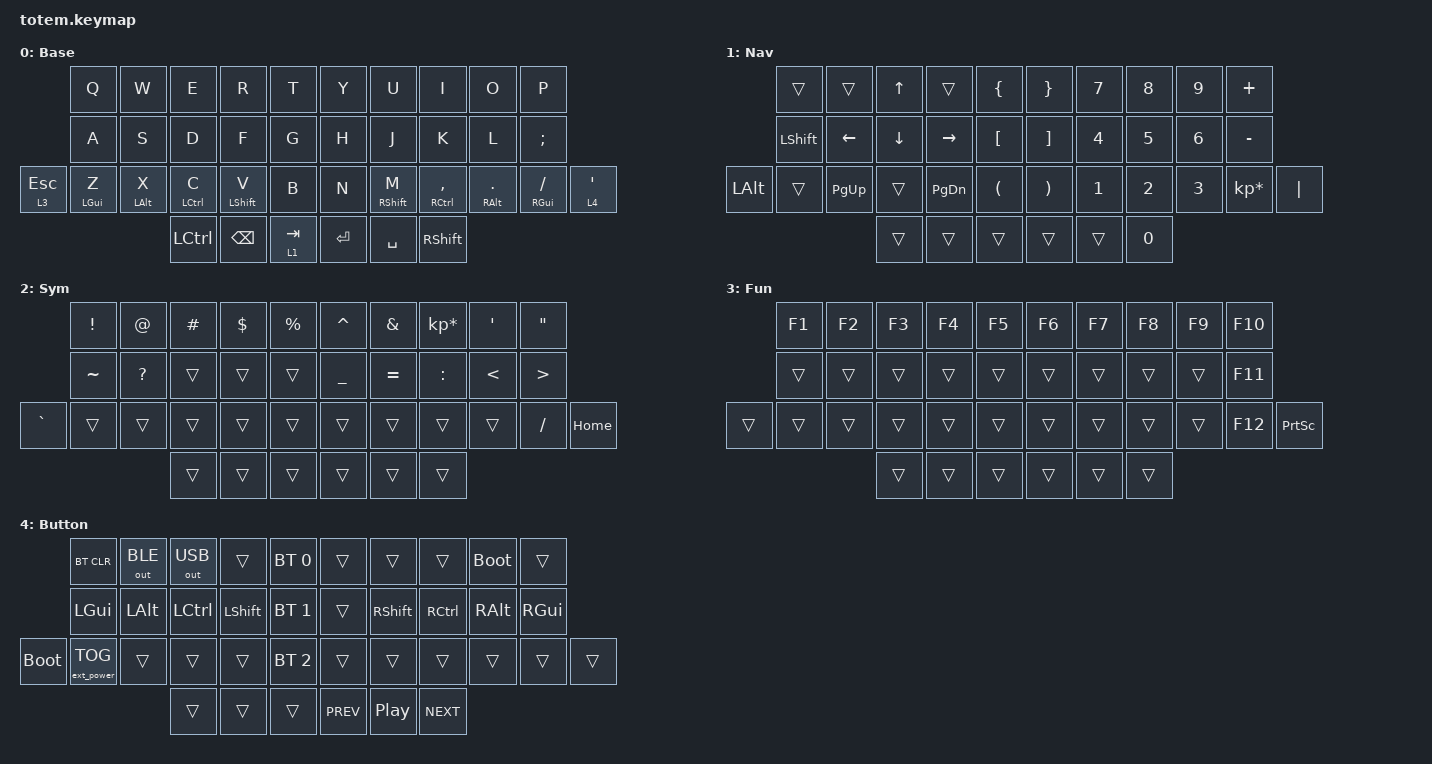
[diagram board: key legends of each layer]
//
//                                                        ▀▀▀▀▀     ▀▀▀▀▀          ▀▀█▀▀
//                                                        ▄▀▀▀▄  ▄  ▄▀▀▀▄  ▄  ▄▀▀▀▄  █  ▄▀▀▀▄
//                                                        █   █  █  █   █  █  █   █  █  █   █
//                                                         ▀▀▀   █   ▀▀▀   █   ▀▀▀   ▀   ▀▀▀
//                                                               █      ▄▄▄█▄▄▄    █   █  
//                                                               ▀      █  █  █     █▄█
//                                                             ▀▀▀▀▀    █  █  █      ▀
//                                                                      ▀  ▀  ▀
//
// ▄▄▄▄▄▄▄▄▄▄▄▄▄▄▄▄▄▄▄▄▄▄▄▄▄▄▄▄▄▄▄▄▄▄▄▄▄▄▄▄▄▄▄▄▄▄▄▄▄▄▄▄▄▄▄▄▄▄▄▄▄▄▄▄▄▄▄▄▄▄▄▄▄▄▄▄▄▄▄▄▄▄▄▄▄▄▄▄▄▄▄▄▄▄▄▄▄▄▄▄▄▄▄▄▄▄▄▄▄▄▄▄▄▄▄▄▄▄▄▄▄▄▄▄▄▄▄▄▄▄▄▄▄▄▄▄▄▄▄▄▄▄▄▄▄▄▄▄▄

#include <behaviors.dtsi>
#include <dt-bindings/zmk/bt.h>
#include <dt-bindings/zmk/ext_power.h>
#include <dt-bindings/zmk/keys.h>
#include <dt-bindings/zmk/outputs.h>

#define Base        0
#define Nav         1
#define Sym         2
#define Fun         3
#define Game        4
#define Gameplus    5

&mt {
    quick-tap-ms = <100>;
    global-quick-tap;
    flavor = "tap-preferred";
    tapping-term-ms = <170>;
};

&lt {
    tapping-term-ms = <240>;
    flavor = "balanced";
    quick-tap-ms = <150>;
};

/ {
    behaviors {
        hm: homerow_mods {
            compatible = "zmk,behavior-hold-tap";
            label = "HOMEROW_MODS";
            #binding-cells = <2>;
            flavor = "tap-preferred";
            tapping-term-ms = <200>;
            quick-tap-ms = <125>;
            global-quick-tap;
            bindings = <&kp>, <&kp>;
        };

        lpar_lt: lpar_lt {
            compatible = "zmk,behavior-mod-morph";
            label = "LPAR_LT";
            bindings = <&kp LEFT_PARENTHESIS>, <&kp LESS_THAN>;

            #binding-cells = <0>;
            mods = <(MOD_LSFT)>;
        };

        rpar_gt: rpar_gt {
            compatible = "zmk,behavior-mod-morph";
            label = "RPAR_GT";
            bindings = <&kp RPAR>, <&kp GT>;

            #binding-cells = <0>;
            mods = <(MOD_LSFT)>;
        };

        lb_lb: lb_lb {
            compatible = "zmk,behavior-mod-morph";
            label = "LB_LB";
            bindings = <&kp LEFT_BRACKET>, <&kp LEFT_BRACE>;

            #binding-cells = <0>;
            mods = <(MOD_LSFT)>;
        };

        rb_rb: rb_rb {
            compatible = "zmk,behavior-mod-morph";
            label = "RB_RB";
            bindings = <&kp RIGHT_BRACKET>, <&kp RIGHT_BRACE>;

            #binding-cells = <0>;
            mods = <(MOD_LSFT)>;
        };
    };

    combos {
        compatible = "zmk,combos";

        enter {
            bindings = <&kp ENTER>;
            key-positions = <2 3>;
        };

        esc {
            bindings = <&kp ESCAPE>;
            key-positions = <2 1>;
        };

        at {
            bindings = <&kp AT_SIGN>;
            key-positions = <1 11>;
        };

        grave {
            bindings = <&kp GRAVE>;
            key-positions = <11 22>;
        };

        copy {
            bindings = <&kp LC(C)>;
            key-positions = <22 23>;
        };

        paste {
            bindings = <&kp LC(V)>;
            key-positions = <23 24>;
        };

        tab {
            bindings = <&kp TAB>;
            key-positions = <11 12>;
        };

        hash {
            bindings = <&kp HASH>;
            key-positions = <2 12>;
        };

        backslash {
            bindings = <&kp BACKSLASH>;
            key-positions = <23 12>;
        };

        dollar {
            bindings = <&kp DOLLAR>;
            key-positions = <3 13>;
        };

        equal {
            bindings = <&kp EQUAL>;
            key-positions = <13 24>;
        };

        percent {
            bindings = <&kp PERCENT>;
            key-positions = <4 14>;
        };

        tilde {
            bindings = <&kp TILDE>;
            key-positions = <25 14>;
        };

        excl {
            bindings = <&kp EXCLAMATION>;
            key-positions = <0 10>;
        };

        caret {
            bindings = <&kp CARET>;
            key-positions = <5 15>;
        };

        and {
            bindings = <&kp AMPERSAND>;
            key-positions = <6 16>;
        };

        star {
            bindings = <&kp ASTERISK>;
            key-positions = <7 17>;
        };

        plus {
            bindings = <&kp PLUS>;
            key-positions = <8 18>;
        };

        dq {
            bindings = <&kp DOUBLE_QUOTES>;
            key-positions = <9 19>;
        };

        pipe {
            bindings = <&kp PIPE>;
            key-positions = <15 26>;
        };

        minus {
            bindings = <&kp MINUS>;
            key-positions = <27 16>;
        };

        a {
            bindings = <&lpar_lt>;
            key-positions = <16 17>;
        };

        b {
            bindings = <&rpar_gt>;
            key-positions = <17 18>;
        };

        c {
            bindings = <&lb_lb>;
            key-positions = <27 28>;
        };

        d {
            bindings = <&rb_rb>;
            key-positions = <28 29>;
        };

        under {
            bindings = <&kp UNDER>;
            key-positions = <17 28>;
        };

        quote {
            bindings = <&kp SQT>;
            key-positions = <18 29>;
        };

        cut {
            bindings = <&kp LC(X)>;
            key-positions = <22 21>;
        };
    };

    keymap {
        compatible = "zmk,keymap";

        Base {
            label = "Base";
            bindings = <
              &kp Q           &kp W       &kp E               &kp R             &kp T        &kp Y      &kp U              &kp I                    &kp O              &kp P
              &kp A           &kp S       &kp D               &kp F             &kp G        &kp H      &kp J              &kp K                    &kp L              &kp SEMICOLON
&lt 3 ESCAPE  &hm LEFT_GUI Z  &hm LALT X  &hm LEFT_CONTROL C  &hm LEFT_SHIFT V  &kp B        &kp N      &hm RIGHT_SHIFT M  &hm RIGHT_CONTROL COMMA  &hm RIGHT_ALT DOT  &hm RGUI SLASH  &lt 4 APOSTROPHE
                                          &kp LCTRL           &kp BACKSPACE     &lt 1 TAB    &kp ENTER  &kp SPACE          &kp RIGHT_SHIFT
            >;
        };

        Nav {
            label = "Nav";
            bindings = <
              &trans          &trans       &kp UP_ARROW  &trans     &kp LBRC    &kp RBRC  &kp NUMBER_7  &kp NUMBER_8  &kp NUMBER_9  &kp PLUS
              &kp LEFT_SHIFT  &kp LEFT     &kp DOWN      &kp RIGHT  &kp LBKT    &kp RBKT  &kp NUMBER_4  &kp NUMBER_5  &kp NUMBER_6  &kp MINUS
&kp LEFT_ALT  &trans          &kp PAGE_UP  &trans        &kp PG_DN  &kp LPAR    &kp RPAR  &kp NUMBER_1  &kp NUMBER_2  &kp NUMBER_3  &kp KP_MULTIPLY  &kp PIPE
                                           &trans        &trans     &trans      &trans    &trans        &kp NUMBER_0
            >;
        };

        Sym {
            label = "Sym";
            bindings = <
           &kp EXCL   &kp AT        &kp HASH  &kp DOLLAR  &kp PERCENT    &kp CARET  &kp AMPERSAND  &kp KP_ASTERISK  &kp SQT        &kp DQT
           &kp TILDE  &kp QUESTION  &trans    &trans      &trans         &kp UNDER  &kp EQUAL      &kp COLON        &kp LESS_THAN  &kp GREATER_THAN
&kp GRAVE  &trans     &trans        &trans    &trans      &trans         &trans     &trans         &trans           &trans         &kp SLASH         &kp HOME
                                    &trans    &trans      &trans         &trans     &trans         &trans
            >;
        };

        Fun {
            label = "Fun";
            bindings = <
        &kp F1  &kp F2  &kp F3  &kp F4  &kp F5    &kp F6  &kp F7  &kp F8  &kp F9  &kp F10
        &trans  &trans  &trans  &trans  &trans    &trans  &trans  &trans  &trans  &kp F11
&trans  &trans  &trans  &trans  &trans  &trans    &trans  &trans  &trans  &trans  &kp F12  &kp PRINTSCREEN
                        &trans  &trans  &trans    &trans  &trans  &trans
            >;
        };

        Button {
            label = "Button";
            bindings = <
             &bt BT_CLR         &out OUT_BLE  &out OUT_USB  &trans      &bt BT_SEL 0    &trans      &trans            &trans      &bootloader  &trans
             &kp LGUI           &kp LALT      &kp LCTRL     &kp LSHIFT  &bt BT_SEL 1    &trans      &kp RSHIFT        &kp RCTRL   &kp RALT     &kp RGUI
&bootloader  &ext_power EP_TOG  &trans        &trans        &trans      &bt BT_SEL 2    &trans      &trans            &trans      &trans       &trans    &trans
                                              &trans        &trans      &trans          &kp C_PREV  &kp C_PLAY_PAUSE  &kp C_NEXT
            >;
        };
    };
};
